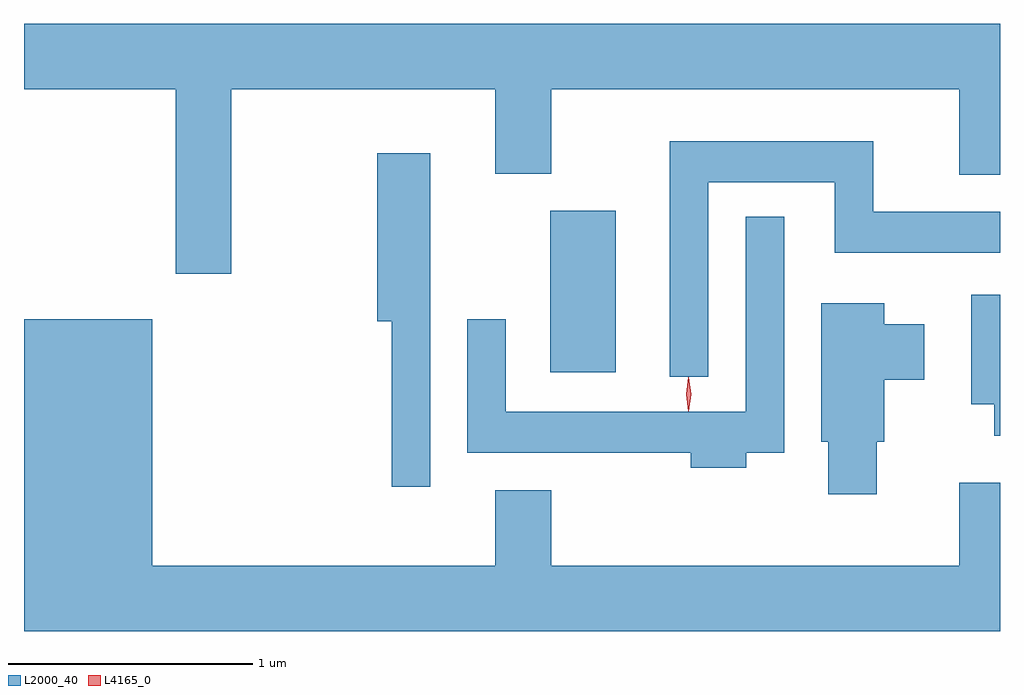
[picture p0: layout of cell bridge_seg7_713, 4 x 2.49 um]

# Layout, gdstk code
import gdstk
lib = gdstk.Library(unit=1e-6, precision=1e-09)
def R(c, l, rs):  # rectangles x0, y0, x1, y1
    for r in rs: c.add(gdstk.rectangle(r[:2], r[2:], *l))
def P(c, l, *ps):  # polygons
    for p in ps: c.add(gdstk.Polygon(p, *l))
L2000_40 = (2000, 40)
L4165_0 = (4165, 0)

bridge_seg7_713 = lib.new_cell('bridge_seg7_713')
R(bridge_seg7_713, L2000_40, [(592.666,1748.676,592.934,1749.339)])
P(bridge_seg7_713, L2000_40, [(591.359,1749.836),(592.441,1749.836),(592.441,1749.491),(592.669,1749.491),(592.669,1749.836),(594.341,1749.836),(594.341,1749.486),(594.509,1749.486),(594.509,1750.104),(590.509,1750.104),(590.509,1749.836),(591.131,1749.836),(591.131,1749.081),(591.359,1749.081)],
  [(593.314,1749.456),(593.831,1749.456),(593.831,1749.166),(594.509,1749.166),(594.509,1749.334),(593.989,1749.334),(593.989,1749.624),(593.156,1749.624),(593.156,1748.658),(593.314,1748.658)],
  [(592.174,1749.574),(591.956,1749.574),(591.956,1748.886),(592.016,1748.886),(592.016,1748.208),(592.174,1748.208)],
  [(593.469,1748.346),(593.624,1748.346),(593.624,1749.313),(593.466,1749.313),(593.466,1748.514),(592.484,1748.514),(592.484,1748.893),(592.326,1748.893),(592.326,1748.346),(593.241,1748.346),(593.241,1748.286),(593.469,1748.286)],
  [(594.509,1748.994),(594.391,1748.994),(594.391,1748.546),(594.486,1748.546),(594.486,1748.416),(594.509,1748.416)],
  [(594.004,1748.391),(594.034,1748.391),(594.034,1748.646),(594.199,1748.646),(594.199,1748.874),(594.034,1748.874),(594.034,1748.959),(593.776,1748.959),(593.776,1748.391),(593.806,1748.391),(593.806,1748.176),(594.004,1748.176)],
  [(594.509,1748.224),(594.341,1748.224),(594.341,1747.884),(592.669,1747.884),(592.669,1748.194),(592.441,1748.194),(592.441,1747.884),(591.034,1747.884),(591.034,1748.894),(590.509,1748.894),(590.509,1747.616),(594.509,1747.616)])
P(bridge_seg7_713, L4165_0, [(593.232,1748.517),(593.223,1748.587),(593.232,1748.656),(593.233,1748.656),(593.233,1748.656),(593.243,1748.587),(593.233,1748.517),(593.233,1748.517)])

lib.write_gds('bridge_seg7_713.gds')
